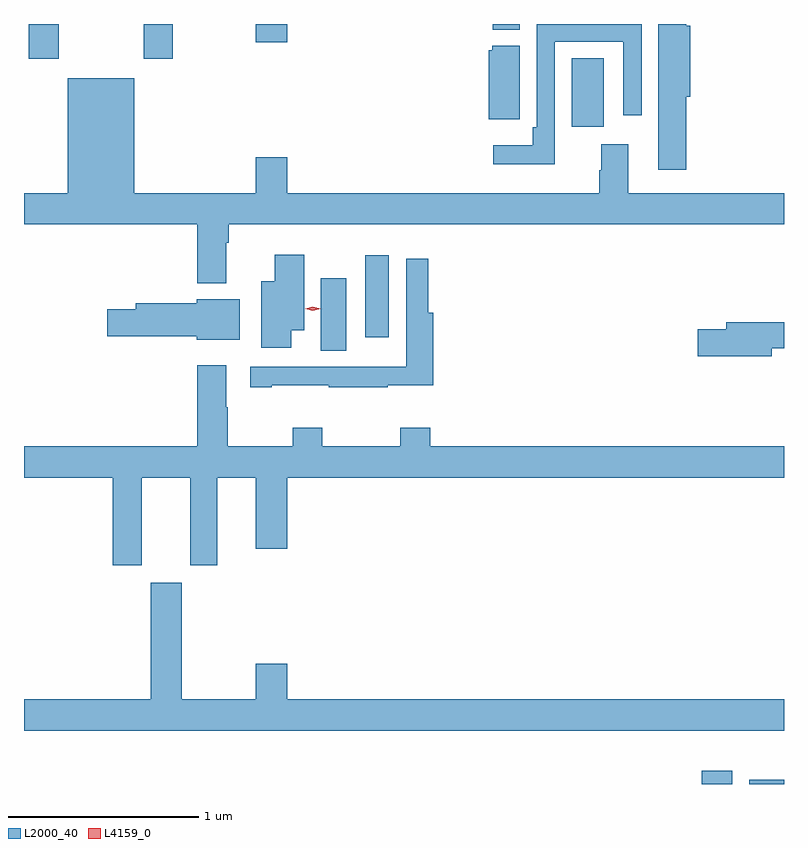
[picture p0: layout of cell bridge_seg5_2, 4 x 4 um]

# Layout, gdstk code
import gdstk
lib = gdstk.Library(unit=1e-6, precision=1e-09)
def R(c, l, rs):  # rectangles x0, y0, x1, y1
    for r in rs: c.add(gdstk.rectangle(r[:2], r[2:], *l))
def P(c, l, *ps):  # polygons
    for p in ps: c.add(gdstk.Polygon(p, *l))
L2000_40 = (2000, 40)
L4159_0 = (4159, 0)

bridge_seg5_2 = lib.new_cell('bridge_seg5_2')
R(bridge_seg5_2, L2000_40, [(994.526,840.495,994.687,840.565), (994.776,840.495,994.959,840.518), (992.522,842.776,992.656,843.157), (992.756,842.847,992.878,843.277), (993.842,843.954,994.009,844.316), (990.983,844.311,991.143,844.495), (991.588,844.311,991.743,844.495), (992.18,844.398,992.344,844.495), (993.425,844.466,993.568,844.495)])
P(bridge_seg5_2, L2000_40, [(993.753,844.401),(994.113,844.401),(994.113,844.014),(994.209,844.014),(994.209,844.495),(993.657,844.495),(993.657,843.952),(993.637,843.952),(993.637,843.856),(993.429,843.856),(993.429,843.758),(993.753,843.758)],
  [(994.445,844.113),(994.466,844.113),(994.466,844.485),(994.445,844.485),(994.445,844.495),(994.298,844.495),(994.298,843.729),(994.445,843.729)],
  [(993.568,844.381),(993.423,844.381),(993.423,844.356),(993.404,844.356),(993.404,843.995),(993.568,843.995)],
  [(992.023,843.344),(992.036,843.344),(992.036,843.44),(994.959,843.44),(994.959,843.604),(994.138,843.604),(994.138,843.862),(993.998,843.862),(993.998,843.725),(993.986,843.725),(993.986,843.604),(992.344,843.604),(992.344,843.793),(992.18,843.793),(992.18,843.604),(991.54,843.604),(991.54,844.21),(991.19,844.21),(991.19,843.604),(990.959,843.604),(990.959,843.44),(991.871,843.44),(991.871,843.131),(992.023,843.131)],
  [(992.365,842.882),(992.434,842.882),(992.434,843.28),(992.279,843.28),(992.279,843.142),(992.207,843.142),(992.207,842.79),(992.365,842.79)],
  [(992.263,842.593),(992.563,842.593),(992.563,842.583),(992.873,842.583),(992.873,842.593),(993.113,842.593),(993.113,842.974),(993.086,842.974),(993.086,843.259),(992.97,843.259),(992.97,842.692),(992.76,842.692),(992.76,842.691),(992.151,842.691),(992.151,842.583),(992.263,842.583)],
  [(992.095,843.046),(991.868,843.046),(991.868,843.024),(991.547,843.024),(991.547,842.994),(991.398,842.994),(991.398,842.852),(991.868,842.852),(991.868,842.834),(992.095,842.834)],
  [(994.894,842.788),(994.959,842.788),(994.959,842.924),(994.655,842.924),(994.655,842.888),(994.506,842.888),(994.506,842.746),(994.894,842.746)],
  [(991.871,842.272),(990.959,842.272),(990.959,842.108),(991.427,842.108),(991.427,841.647),(991.579,841.647),(991.579,842.108),(991.835,842.108),(991.835,841.647),(991.975,841.647),(991.975,842.108),(992.18,842.108),(992.18,841.734),(992.344,841.734),(992.344,842.108),(994.959,842.108),(994.959,842.272),(993.098,842.272),(993.098,842.371),(992.938,842.371),(992.938,842.272),(992.529,842.272),(992.529,842.371),(992.374,842.371),(992.374,842.272),(992.031,842.272),(992.031,842.477),(992.023,842.477),(992.023,842.698),(991.871,842.698)],
  [(994.959,840.94),(992.344,840.94),(992.344,841.129),(992.18,841.129),(992.18,840.94),(991.789,840.94),(991.789,841.555),(991.625,841.555),(991.625,840.94),(990.959,840.94),(990.959,840.776),(994.959,840.776)])
P(bridge_seg5_2, L4159_0, [(992.48,842.986),(992.44,842.996),(992.44,842.996),(992.44,842.997),(992.48,843.006),(992.52,842.996),(992.52,842.996),(992.52,842.996)])

lib.write_gds('bridge_seg5_2.gds')
